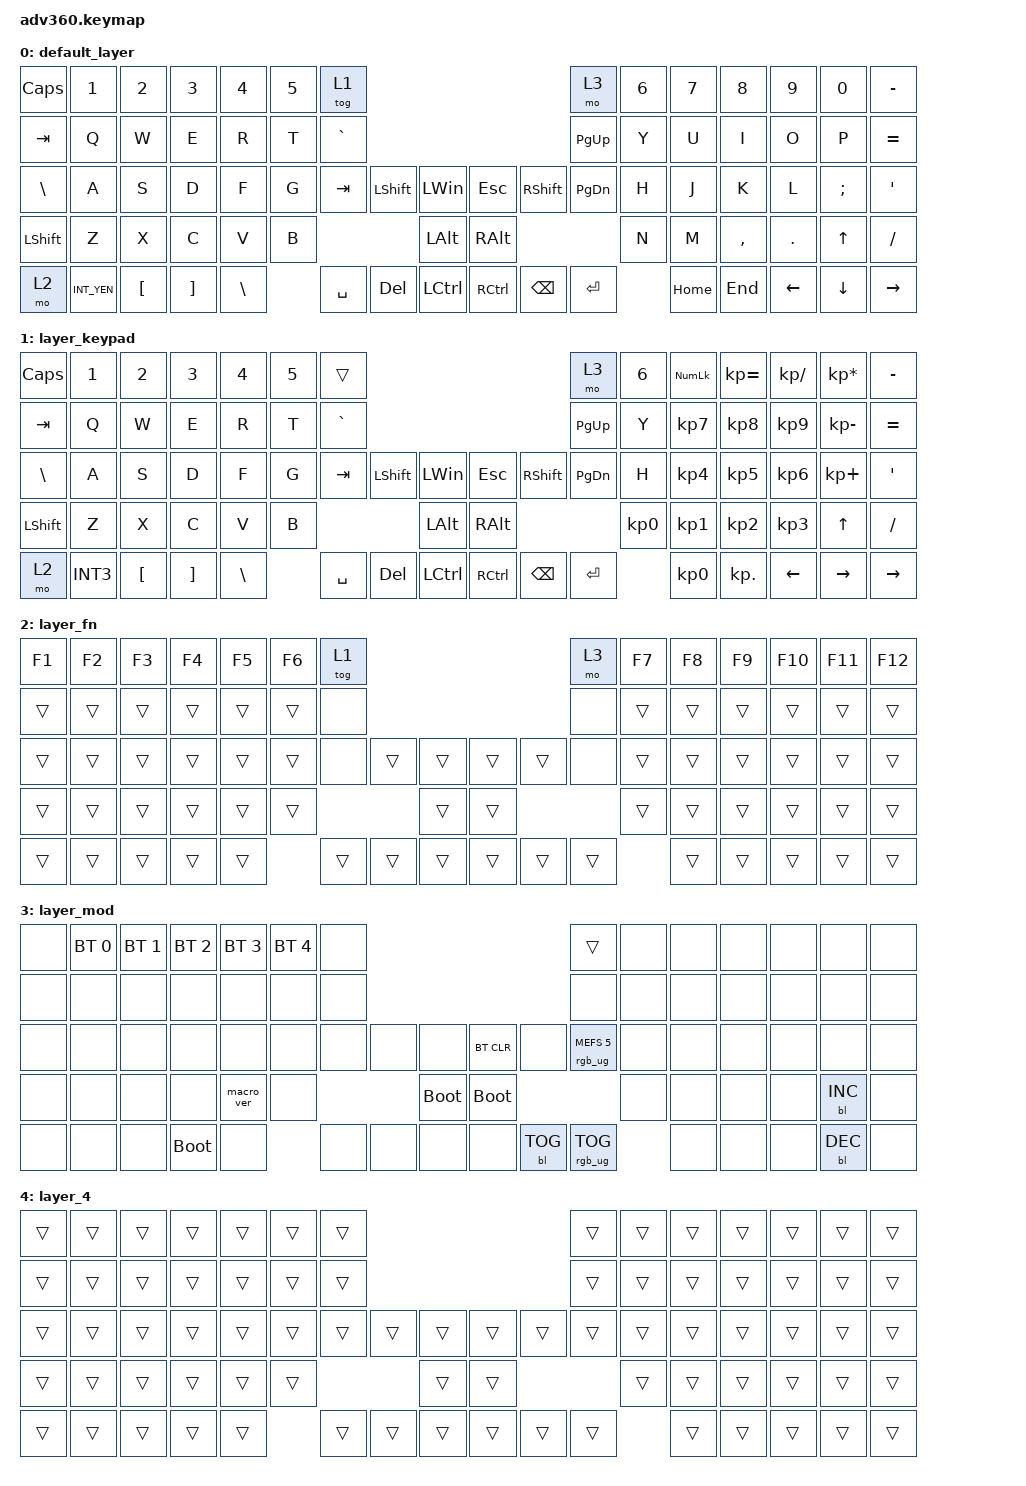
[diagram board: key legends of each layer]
/*
 * Copyright (c) 2020 The ZMK Contributors
 *
 * SPDX-License-Identifier: MIT
 */
/* THIS FILE WAS GENERATED!
 *
 * This file was generated automatically. You may or may not want to
 * edit it directly.
 */

#include <behaviors.dtsi>
#include <dt-bindings/zmk/backlight.h>
#include <dt-bindings/zmk/bt.h>
#include <dt-bindings/zmk/keys.h>
#include <dt-bindings/zmk/rgb.h>

/ {
    behaviors {
        #include "macros.dtsi"
    #include "version.dtsi"

        hm: homerow_mods {
            compatible = "zmk,behavior-hold-tap";
            label = "HOMEROW_MODS";
            #binding-cells = <2>;
            tapping-term-ms = <200>;
            quick_tap_ms = <175>;
            flavor = "tap-preferred";
            bindings = <&kp>, <&kp>;
        };
    };

    keymap {
        compatible = "zmk,keymap";

        default_layer {
            bindings = <
&kp CAPS        &kp N1       &kp N2            &kp N3             &kp N4         &kp N5  &tog 1                                                                               &mo 3      &kp N6  &kp N7    &kp N8     &kp N9    &kp N0    &kp MINUS
&kp TAB         &kp Q        &kp W             &kp E              &kp R          &kp T   &kp GRAVE                                                                            &kp PG_UP  &kp Y   &kp U     &kp I      &kp O     &kp P     &kp EQUAL
&kp BACKSLASH   &kp A        &kp S             &kp D              &kp F          &kp G   &kp TAB    &kp LEFT_SHIFT  &kp LWIN              &kp ESCAPE         &kp RIGHT_SHIFT  &kp PG_DN  &kp H   &kp J     &kp K      &kp L     &kp SEMI  &kp SQT
&kp LEFT_SHIFT  &kp Z        &kp X             &kp C              &kp V          &kp B                              &kp LALT              &kp RALT                                       &kp N   &kp M     &kp COMMA  &kp DOT   &kp UP    &kp SLASH
&mo 2           &kp INT_YEN  &kp LEFT_BRACKET  &kp RIGHT_BRACKET  &kp BACKSLASH          &kp SPACE  &kp DEL         &kp LEFT_CONTROL      &kp RIGHT_CONTROL  &kp BSPC         &kp ENTER          &kp HOME  &kp END    &kp LEFT  &kp DOWN  &kp RIGHT
            >;
        };

        layer_keypad {
            bindings = <
&kp CAPS        &kp N1    &kp N2            &kp N3             &kp N4         &kp N5  &trans                                                                               &mo 3      &kp N6     &kp KP_NUM  &kp KP_EQUAL  &kp KP_DIVIDE  &kp KP_MULTIPLY  &kp MINUS
&kp TAB         &kp Q     &kp W             &kp E              &kp R          &kp T   &kp GRAVE                                                                            &kp PG_UP  &kp Y      &kp KP_N7   &kp KP_N8     &kp KP_N9      &kp KP_MINUS     &kp EQUAL
&kp BACKSLASH   &kp A     &kp S             &kp D              &kp F          &kp G   &kp TAB    &kp LEFT_SHIFT  &kp LEFT_WIN          &kp ESC            &kp RIGHT_SHIFT  &kp PG_DN  &kp H      &kp KP_N4   &kp KP_N5     &kp KP_N6      &kp KP_PLUS      &kp SQT
&kp LEFT_SHIFT  &kp Z     &kp X             &kp C              &kp V          &kp B                              &kp LEFT_ALT          &kp RIGHT_ALT                                  &kp KP_N0  &kp KP_N1   &kp KP_N2     &kp KP_N3      &kp UP           &kp SLASH
&mo 2           &kp INT3  &kp LEFT_BRACKET  &kp RIGHT_BRACKET  &kp BACKSLASH          &kp SPACE  &kp DEL         &kp LEFT_CONTROL      &kp RIGHT_CONTROL  &kp BACKSPACE    &kp ENTER             &kp KP_N0   &kp KP_DOT    &kp LEFT       &kp RIGHT        &kp RIGHT
            >;
        };

        layer_fn {
            bindings = <
&kp F1  &kp F2  &kp F3  &kp F4  &kp F5  &kp F6  &tog 1                                      &mo 3   &kp F7  &kp F8  &kp F9  &kp F10  &kp F11  &kp F12
&trans  &trans  &trans  &trans  &trans  &trans  &none                                       &none   &trans  &trans  &trans  &trans   &trans   &trans
&trans  &trans  &trans  &trans  &trans  &trans  &none   &trans  &trans      &trans  &trans  &none   &trans  &trans  &trans  &trans   &trans   &trans
&trans  &trans  &trans  &trans  &trans  &trans                  &trans      &trans                  &trans  &trans  &trans  &trans   &trans   &trans
&trans  &trans  &trans  &trans  &trans          &trans  &trans  &trans      &trans  &trans  &trans          &trans  &trans  &trans   &trans   &trans
            >;
        };

        layer_mod {
            bindings = <
&none  &bt BT_SEL 0  &bt BT_SEL 1  &bt BT_SEL 2  &bt BT_SEL 3  &bt BT_SEL 4  &none                                                   &trans                  &none  &none  &none  &none  &none       &none
&none  &none         &none         &none         &none         &none         &none                                                   &none                   &none  &none  &none  &none  &none       &none
&none  &none         &none         &none         &none         &none         &none  &none  &none            &bt BT_CLR   &none       &rgb_ug RGB_MEFS_CMD 5  &none  &none  &none  &none  &none       &none
&none  &none         &none         &none         &macro_ver    &none                       &bootloader      &bootloader                                      &none  &none  &none  &none  &bl BL_INC  &none
&none  &none         &none         &bootloader   &none                       &none  &none  &none            &none        &bl BL_TOG  &rgb_ug RGB_TOG                &none  &none  &none  &bl BL_DEC  &none
            >;
        };

        layer_4 {
            bindings = <
&trans  &trans  &trans  &trans  &trans  &trans  &trans                                      &trans  &trans  &trans  &trans  &trans  &trans  &trans
&trans  &trans  &trans  &trans  &trans  &trans  &trans                                      &trans  &trans  &trans  &trans  &trans  &trans  &trans
&trans  &trans  &trans  &trans  &trans  &trans  &trans  &trans  &trans      &trans  &trans  &trans  &trans  &trans  &trans  &trans  &trans  &trans
&trans  &trans  &trans  &trans  &trans  &trans                  &trans      &trans                  &trans  &trans  &trans  &trans  &trans  &trans
&trans  &trans  &trans  &trans  &trans          &trans  &trans  &trans      &trans  &trans  &trans          &trans  &trans  &trans  &trans  &trans
            >;
        };
    };
};
